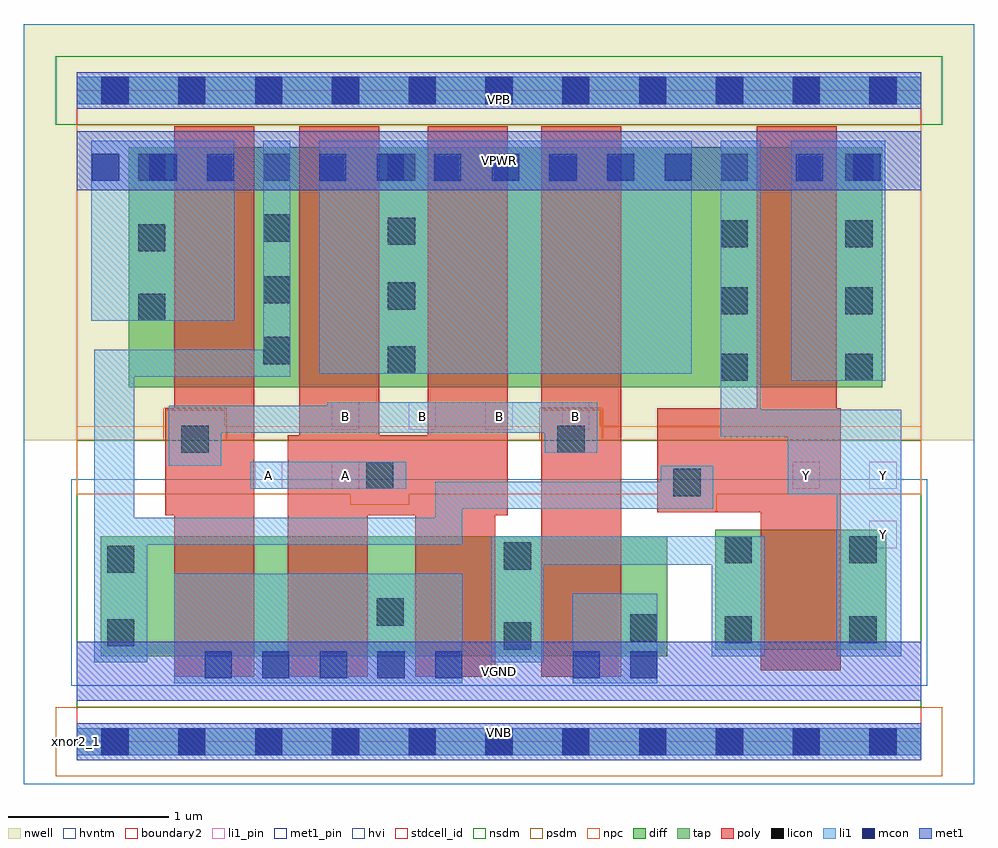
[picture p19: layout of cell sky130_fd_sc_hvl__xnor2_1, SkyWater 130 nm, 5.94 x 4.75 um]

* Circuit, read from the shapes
.subckt sky130_fd_sc_hvl__xnor2_1 A B VGND VNB VPB VPWR Y
XM1 n1 B n2 VNB sky130_fd_pr__nfet_g5v0d10v5 w=0.75 l=0.5
XM2 VGND A n1 VNB sky130_fd_pr__nfet_g5v0d10v5 w=0.75 l=0.5
XM3 n3 A VGND VNB sky130_fd_pr__nfet_g5v0d10v5 w=0.75 l=0.5
XM4 VGND B n3 VNB sky130_fd_pr__nfet_g5v0d10v5 w=0.75 l=0.5
XM5 Y n2 n3 VNB sky130_fd_pr__nfet_g5v0d10v5 w=0.75 l=0.5
XM6 n2 B VPWR VPB sky130_fd_pr__pfet_g5v0d10v5 w=1.5 l=0.5
XM7 VPWR A n2 VPB sky130_fd_pr__pfet_g5v0d10v5 w=1.5 l=0.5
XM8 n4 A VPWR VPB sky130_fd_pr__pfet_g5v0d10v5 w=1.5 l=0.5
XM9 Y B n4 VPB sky130_fd_pr__pfet_g5v0d10v5 w=1.5 l=0.5
XM10 VPWR n2 Y VPB sky130_fd_pr__pfet_g5v0d10v5 w=1.5 l=0.5
.ends

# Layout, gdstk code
import gdstk
lib = gdstk.Library(unit=1e-6, precision=1e-09)
def R(c, l, rs):  # rectangles x0, y0, x1, y1
    for r in rs: c.add(gdstk.rectangle(r[:2], r[2:], *l))
def A(c, l, x, y, w, h, nx, ny, dx, dy):  # array of equal rectangles
    R(c, l, [(x+i*dx, y+j*dy, x+i*dx+w, y+j*dy+h) for i in range(nx) for j in range(ny)])
def P(c, l, *ps):  # polygons
    for p in ps: c.add(gdstk.Polygon(p, *l))
nwell = (64, 20)
diff = (65, 20)
tap = (65, 44)
poly = (66, 20)
licon = (66, 44)
li1_pin = (67, 16)
li1 = (67, 20)
mcon = (67, 44)
met1_pin = (68, 16)
met1 = (68, 20)
hvi = (75, 20)
stdcell_id = (81, 4)
nsdm = (93, 44)
psdm = (94, 20)
npc = (95, 20)
hvntm = (125, 20)
boundary2 = (236, 0)

sky130_fd_sc_hvl__xnor2_ = lib.new_cell('sky130_fd_sc_hvl__xnor2_1')
R(sky130_fd_sc_hvl__xnor2_, nwell, [(-0.33,1.885,5.61,4.485)])
R(sky130_fd_sc_hvl__xnor2_, diff, [(0.15,0.535,3.69,1.285), (3.99,0.575,5.06,1.325), (0.325,2.215,5.035,3.715)])
R(sky130_fd_sc_hvl__xnor2_, tap, [(0,-0.085,5.28,0.085), (0,3.985,5.28,4.155)])
R(sky130_fd_sc_hvl__xnor2_, poly, [(2.905,0.405,3.405,3.845)])
P(sky130_fd_sc_hvl__xnor2_, poly, [(1.11,3.845),(0.61,3.845),(0.61,2.085),(0.555,2.085),(0.555,1.415),(0.61,1.415),(0.61,0.405),(1.11,0.405)],
  [(2.695,3.845),(2.195,3.845),(2.195,1.915),(1.89,1.915),(1.89,3.845),(1.39,3.845),(1.39,1.915),(1.32,1.915),(1.32,0.405),(1.82,0.405),(1.82,1.415),(2.115,1.415),(2.115,0.405),(2.615,0.405),(2.615,1.415),(2.695,1.415)],
  [(4.775,2.085),(4.75,2.085),(4.75,3.845),(4.25,3.845),(4.25,2.085),(3.63,2.085),(3.63,1.435),(4.275,1.435),(4.275,0.445),(4.775,0.445)])
A(sky130_fd_sc_hvl__xnor2_, licon, 0.155, -0.085, 0.17, 0.17, 11, 2, 0.48, 4.07)
A(sky130_fd_sc_hvl__xnor2_, licon, 0.385, 3.505, 0.17, 0.17, 3, 1, 0.78, 0)
R(sky130_fd_sc_hvl__xnor2_, licon, [(2.67,0.575,2.84,0.745), (0.19,0.595,0.36,0.765), (4.05,0.615,4.22,0.785), (4.83,0.615,5,0.785), (3.46,0.625,3.63,0.795), (1.875,0.725,2.045,0.895), (0.19,1.055,0.36,1.225), (2.67,1.075,2.84,1.245), (4.05,1.115,4.22,1.285), (4.83,1.115,5,1.285), (3.73,1.535,3.9,1.705), (1.81,1.58,1.98,1.75), (0.655,1.805,0.825,1.975), (3.005,1.805,3.175,1.975), (4.025,2.255,4.195,2.425), (4.805,2.255,4.975,2.425), (1.945,2.3,2.115,2.47), (1.165,2.36,1.335,2.53), (0.385,2.63,0.555,2.8), (4.025,2.67,4.195,2.84), (4.805,2.67,4.975,2.84), (1.945,2.7,2.115,2.87), (1.165,2.74,1.335,2.91), (0.385,3.065,0.555,3.235), (4.025,3.09,4.195,3.26), (4.805,3.09,4.975,3.26), (1.945,3.105,2.115,3.275), (1.165,3.125,1.335,3.295), (4.025,3.505,4.195,3.675), (4.805,3.505,4.975,3.675)])
A(sky130_fd_sc_hvl__xnor2_, li1_pin, 1.595, 1.95, 0.17, 0.17, 4, 1, 0.48, 0)
R(sky130_fd_sc_hvl__xnor2_, li1_pin, [(4.955,1.21,5.125,1.38), (1.115,1.58,1.285,1.75), (1.595,1.58,1.765,1.75), (4.475,1.58,4.645,1.75), (4.955,1.58,5.125,1.75)])
R(sky130_fd_sc_hvl__xnor2_, li1, [(0,-0.085,5.28,0.085), (0.61,0.365,2.41,1.05), (3.1,0.365,3.63,0.925), (1.085,1.58,2.06,1.75), (4.465,2.255,5.055,3.755), (1.515,2.3,3.845,3.755), (0.09,2.63,0.985,3.755), (0,3.985,5.28,4.155)])
P(sky130_fd_sc_hvl__xnor2_, li1, [(3.255,2.12),(1.565,2.12),(1.565,2.1),(0.575,2.1),(0.575,1.725),(0.905,1.725),(0.905,1.93),(2.925,1.93),(2.925,1.805),(3.255,1.805)],
  [(3.98,1.725),(3.65,1.725),(3.65,1.625),(2.24,1.625),(2.24,1.4),(0.36,1.4),(0.36,2.28),(1.335,2.28),(1.335,3.755),(1.165,3.755),(1.165,2.45),(0.11,2.45),(0.11,0.495),(0.44,0.495),(0.44,1.23),(2.41,1.23),(2.41,1.455),(3.98,1.455)],
  [(4.3,1.285),(2.59,1.285),(2.59,0.495),(2.92,0.495),(2.92,1.105),(3.97,1.105),(3.97,0.535),(4.3,0.535)],
  [(5.155,2.075),(4.275,2.075),(4.275,3.755),(4.025,3.755),(4.025,1.905),(4.445,1.905),(4.445,1.545),(4.75,1.545),(4.75,0.535),(5.155,0.535)])
A(sky130_fd_sc_hvl__xnor2_, mcon, 0.8, 0.395, 0.17, 0.17, 5, 1, 0.36, 0)
A(sky130_fd_sc_hvl__xnor2_, mcon, 0.095, 3.505, 0.17, 0.17, 3, 1, 0.36, 0)
A(sky130_fd_sc_hvl__xnor2_, mcon, 1.515, 3.505, 0.17, 0.17, 7, 1, 0.36, 0)
R(sky130_fd_sc_hvl__xnor2_, mcon, [(0.155,-0.085,0.325,0.085), (0.155,-0.085,0.325,0.085), (0.635,-0.085,0.805,0.085), (0.635,-0.085,0.805,0.085), (1.115,-0.085,1.285,0.085), (1.115,-0.085,1.285,0.085), (1.595,-0.085,1.765,0.085), (1.595,-0.085,1.765,0.085), (2.075,-0.085,2.245,0.085), (2.075,-0.085,2.245,0.085), (2.555,-0.085,2.725,0.085), (2.555,-0.085,2.725,0.085), (3.035,-0.085,3.205,0.085), (3.035,-0.085,3.205,0.085), (3.515,-0.085,3.685,0.085), (3.515,-0.085,3.685,0.085), (3.995,-0.085,4.165,0.085), (3.995,-0.085,4.165,0.085), (4.475,-0.085,4.645,0.085), (4.475,-0.085,4.645,0.085), (4.955,-0.085,5.125,0.085), (4.955,-0.085,5.125,0.085), (3.1,0.395,3.27,0.565), (3.46,0.395,3.63,0.565), (4.495,3.505,4.665,3.675), (4.855,3.505,5.025,3.675), (0.155,3.985,0.325,4.155), (0.155,3.985,0.325,4.155), (0.635,3.985,0.805,4.155), (0.635,3.985,0.805,4.155), (1.115,3.985,1.285,4.155), (1.115,3.985,1.285,4.155), (1.595,3.985,1.765,4.155), (1.595,3.985,1.765,4.155), (2.075,3.985,2.245,4.155), (2.075,3.985,2.245,4.155), (2.555,3.985,2.725,4.155), (2.555,3.985,2.725,4.155), (3.035,3.985,3.205,4.155), (3.035,3.985,3.205,4.155), (3.515,3.985,3.685,4.155), (3.515,3.985,3.685,4.155), (3.995,3.985,4.165,4.155), (3.995,3.985,4.165,4.155), (4.475,3.985,4.645,4.155), (4.475,3.985,4.645,4.155), (4.955,3.985,5.125,4.155), (4.955,3.985,5.125,4.155)])
R(sky130_fd_sc_hvl__xnor2_, met1_pin, [(0,0,5.28,0.115), (0,0.255,5.28,0.625), (0,3.445,5.28,3.815), (0,3.955,5.28,4.07)])
R(sky130_fd_sc_hvl__xnor2_, met1, [(0,-0.115,5.28,0.115), (0,0.255,5.28,0.625), (0,3.445,5.28,3.815), (0,3.955,5.28,4.185)])
R(sky130_fd_sc_hvl__xnor2_, hvi, [(-0.33,-0.265,5.61,4.485)])
R(sky130_fd_sc_hvl__xnor2_, stdcell_id, [(0,0,5.28,4.07)])
R(sky130_fd_sc_hvl__xnor2_, nsdm, [(0,0.215,5.28,1.885), (-0.13,3.855,5.41,4.285), (0,3.855,5.28,4.07)])
R(sky130_fd_sc_hvl__xnor2_, psdm, [(-0.13,-0.215,5.41,0.215)])
P(sky130_fd_sc_hvl__xnor2_, psdm, [(5.28,3.855),(0,3.855),(0,1.885),(0.545,1.885),(0.545,2.085),(0.935,2.085),(0.935,1.885),(2.895,1.885),(2.895,2.085),(3.285,2.085),(3.285,1.885),(5.28,1.885)])
P(sky130_fd_sc_hvl__xnor2_, npc, [(5.28,1.97),(3.275,1.97),(3.275,2.075),(2.905,2.075),(2.905,1.97),(0.925,1.97),(0.925,2.075),(0.555,2.075),(0.555,1.97),(0,1.97),(0,1.545),(1.71,1.545),(1.71,1.48),(2.08,1.48),(2.08,1.545),(3.63,1.545),(3.63,1.435),(4,1.435),(4,1.545),(5.28,1.545)])
R(sky130_fd_sc_hvl__xnor2_, hvntm, [(-0.035,0.35,5.315,1.64)])
R(sky130_fd_sc_hvl__xnor2_, boundary2, [(0,0,5.28,4.07)])
sky130_fd_sc_hvl__xnor2_.add(gdstk.Label('xnor2_1', (0,0), layer=83, texttype=44))
sky130_fd_sc_hvl__xnor2_.add(gdstk.Label('VGND', (2.64,0.44), layer=68, texttype=5))
sky130_fd_sc_hvl__xnor2_.add(gdstk.Label('VNB', (2.64,0.058), layer=68, texttype=5))
sky130_fd_sc_hvl__xnor2_.add(gdstk.Label('VPWR', (2.64,3.63), layer=68, texttype=5))
sky130_fd_sc_hvl__xnor2_.add(gdstk.Label('VPB', (2.64,4.013), layer=68, texttype=5))
sky130_fd_sc_hvl__xnor2_.add(gdstk.Label('A', (1.2,1.665), layer=67, texttype=5))
sky130_fd_sc_hvl__xnor2_.add(gdstk.Label('A', (1.68,1.665), layer=67, texttype=5))
sky130_fd_sc_hvl__xnor2_.add(gdstk.Label('B', (1.68,2.035), layer=67, texttype=5))
sky130_fd_sc_hvl__xnor2_.add(gdstk.Label('B', (2.16,2.035), layer=67, texttype=5))
sky130_fd_sc_hvl__xnor2_.add(gdstk.Label('B', (2.64,2.035), layer=67, texttype=5))
sky130_fd_sc_hvl__xnor2_.add(gdstk.Label('B', (3.12,2.035), layer=67, texttype=5))
sky130_fd_sc_hvl__xnor2_.add(gdstk.Label('Y', (4.56,1.665), layer=67, texttype=5))
sky130_fd_sc_hvl__xnor2_.add(gdstk.Label('Y', (5.04,1.665), layer=67, texttype=5))
sky130_fd_sc_hvl__xnor2_.add(gdstk.Label('Y', (5.04,1.295), layer=67, texttype=5))

lib.write_gds('sky130_fd_sc_hvl__xnor2_1.gds')
